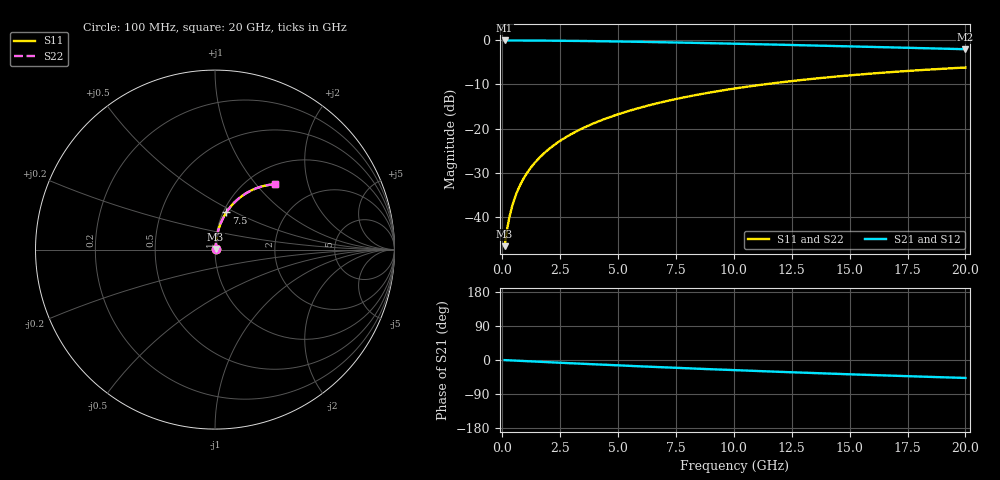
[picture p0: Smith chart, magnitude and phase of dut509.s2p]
! Touchstone file exported from HFSS 2024.1.0
!  File:  C:/UserFiles/LocalFiles/RDL_TSV_Batchsim/temp_RDL_bottom_509_1779687583.aedt
!  Generated:  01:42:19 PM May 25, 2026
!  Design:  RDL_bottom
!  Project:  temp_RDL_bottom_509_1779687583
!  Setup:  Setup1
!  Solution:  Sweep
! Variables:
!  dtsv = 10.80580581um
!  hbump = 3um
!  htsv = 52.25um
!  ldown = 628.38um
!  lrdl = 100um
!  p = 40
!  p1 = 57.62um
!  rhole = 1um
!  t = 450um
!  tdown = 3.96um
!  trdl = 3.915915916um
!  wdown = 16.35um
!  wrdl = 20um
# GHz S MA R 50.000000
! Terminal data exported
! Port[1] = RDL1_T1
! Port[2] = RDL1_T2
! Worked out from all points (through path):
!   200 points, 100 MHz to 20 GHz, reference 50 ohm
!   highest |S21| = -0.03 dB at 100 MHz (marker M1); lowest = -2.0 dB at 20 GHz (marker M2)
!   group delay of S21, straight-line fit = 6.56 ps
!   lowest |S11| = -46.6 dB at 100 MHz (marker M3), VSWR 1.01, Z = 50.4 + j0.307 ohm
!   |S11| at or under -10 dB: start of sweep to 11.27 GHz
!   |S22| runs from -46.6 to -6.2 dB; largest |S21 - S12| = 2.2e-15
!   S11 on the Smith chart (normalised r, x): 100 MHz: 1.01, +0.01; 7.5 GHz: 1.04, +0.45; 20 GHz: 1.31, +1.26
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0.1  0.004676 40.6  0.9964 -0.3  0.9964 -0.3  0.004676 40.6
! Gamma 0 0 0 0
! Port Impedance 50 0 50 0
0.2  0.007072 58.7  0.9963 -0.6  0.9963 -0.6  0.007072 58.7
0.3  0.009769 66.9  0.9962 -0.9  0.9962 -0.9  0.009769 66.9
0.4  0.01254 71.4  0.996 -1.2  0.996 -1.2  0.01254 71.4
0.5  0.01535 74.3  0.9958 -1.5  0.9958 -1.5  0.01535 74.3
0.6  0.01816 76.2  0.9956 -1.8  0.9956 -1.8  0.01816 76.2
0.8  0.02384 78.7  0.9952 -2.4  0.9952 -2.4  0.02384 78.7
1.1  0.03241 80.6  0.9945 -3.2  0.9945 -3.2  0.03241 80.6
1.5  0.04392 81.6  0.9933 -4.4  0.9933 -4.4  0.04391 81.6
1.8  0.05258 81.9  0.9922 -5.2  0.9922 -5.2  0.05258 81.9
2.1  0.06126 82.0  0.9908 -6.1  0.9908 -6.1  0.06126 81.9
2.7  0.07866 81.6  0.9877 -7.8  0.9877 -7.8  0.07866 81.6
3.5  0.1019 80.6  0.9826 -10.1  0.9826 -10.1  0.1019 80.6
4.2  0.1222 79.5  0.9773 -12.0  0.9773 -12.0  0.1222 79.5
5  0.1454 78.1  0.9704 -14.2  0.9704 -14.2  0.1454 78.1
6.8  0.1969 74.5  0.9527 -18.9  0.9527 -18.9  0.1969 74.5
7.5  0.2165 73.0  0.9451 -20.7  0.9451 -20.7  0.2165 73.0
8.7  0.2495 70.5  0.9316 -23.6  0.9316 -23.6  0.2495 70.5
10.1  0.2865 67.4  0.915 -27.0  0.915 -27.0  0.2865 67.4
13.4  0.3666 60.4  0.8743 -34.4  0.8743 -34.4  0.3665 60.4
16.7  0.4352 53.7  0.8331 -41.1  0.8331 -41.1  0.4351 53.7
20  0.4925 47.6  0.793 -47.4  0.793 -47.4  0.4924 47.6
